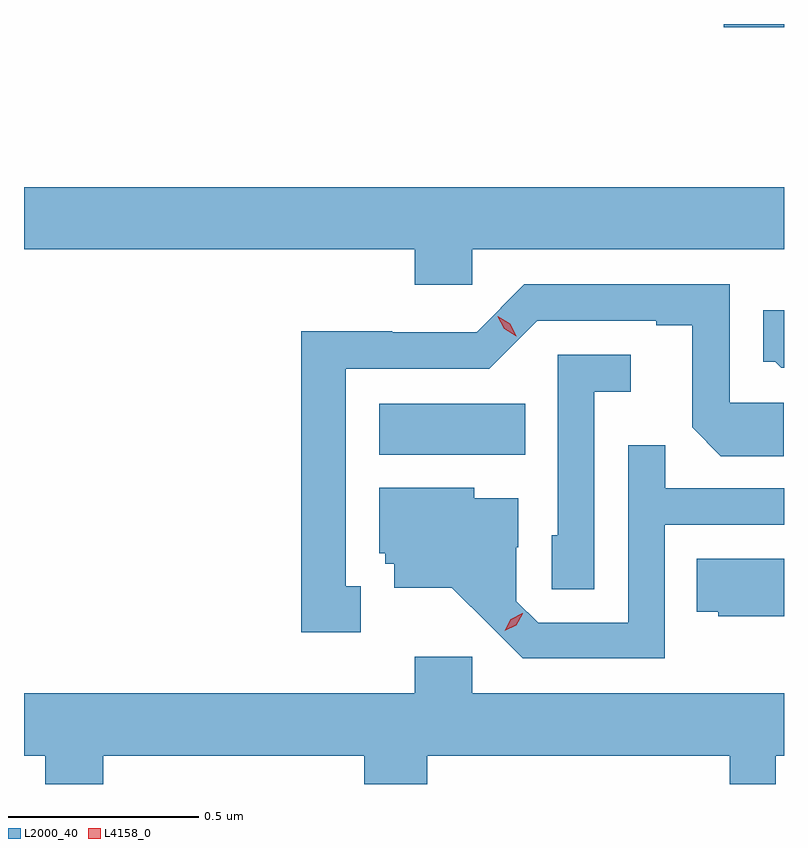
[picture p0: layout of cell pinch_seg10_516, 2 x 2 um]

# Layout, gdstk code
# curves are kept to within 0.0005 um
import gdstk
lib = gdstk.Library(unit=1e-6, precision=1e-09)
def R(c, l, rs):  # rectangles x0, y0, x1, y1
    for r in rs: c.add(gdstk.rectangle(r[:2], r[2:], *l))
def P(c, l, *ps):  # polygons
    for p in ps: c.add(gdstk.Polygon(p, *l))
L2000_40 = (2000, 40)
L4158_0 = (4158, 0)

pinch_seg10_516 = lib.new_cell('pinch_seg10_516')
R(pinch_seg10_516, L2000_40, [(274.568,1301.108,274.952,1301.242), (275.474,1302.233,275.633,1302.241)])
P(pinch_seg10_516, L2000_40, [(274.812,1301.648),(275.633,1301.648),(275.633,1301.812),(273.633,1301.812),(273.633,1301.648),(274.661,1301.648),(274.661,1301.555),(274.812,1301.555)],
  [(274.519,1300.761),(274.48,1300.761),(274.48,1301.334),(274.857,1301.334),(274.983,1301.46),(275.297,1301.46),(275.297,1301.448),(275.391,1301.448),(275.391,1301.18),(275.467,1301.104),(275.632,1301.104),(275.632,1301.244),(275.49,1301.244),(275.49,1301.556),(274.95,1301.556),(274.824,1301.43),(274.602,1301.43),(274.602,1301.432),(274.362,1301.432),(274.362,1300.641),(274.519,1300.641)],
  [(275.633,1301.488),(275.579,1301.488),(275.579,1301.352),(275.61,1301.352),(275.626,1301.336),(275.633,1301.336)],
  [(275.133,1301.273),(275.23,1301.273),(275.23,1301.37),(275.037,1301.37),(275.037,1300.896),(275.022,1300.896),(275.022,1300.753),(275.133,1300.753)],
  [(275.319,1300.923),(275.633,1300.923),(275.633,1301.019),(275.321,1301.019),(275.321,1301.132),(275.223,1301.132),(275.223,1300.665),(274.986,1300.665),(274.929,1300.722),(274.929,1300.864),(274.933,1300.864),(274.933,1300.993),(274.818,1300.993),(274.818,1301.02),(274.568,1301.02),(274.568,1300.848),(274.584,1300.848),(274.584,1300.821),(274.607,1300.821),(274.607,1300.757),(274.759,1300.757),(274.946,1300.572),(275.319,1300.572)],
  [(275.633,1300.834),(275.404,1300.834),(275.404,1300.694),(275.46,1300.694),(275.46,1300.682),(275.633,1300.682)],
  [(273.842,1300.316),(274.529,1300.316),(274.529,1300.241),(274.694,1300.241),(274.694,1300.316),(275.49,1300.316),(275.49,1300.241),(275.611,1300.241),(275.611,1300.316),(275.633,1300.316),(275.633,1300.48),(274.812,1300.48),(274.812,1300.576),(274.661,1300.576),(274.661,1300.48),(273.633,1300.48),(273.633,1300.316),(273.689,1300.316),(273.689,1300.241),(273.842,1300.241)])
P(pinch_seg10_516, L4158_0, [(274.898,1300.644),(274.898,1300.644),(274.914,1300.674),(274.944,1300.69),(274.945,1300.69),(274.945,1300.689),(274.928,1300.659),(274.898,1300.644)],
  [(274.929,1301.419),(274.897,1301.439),(274.88,1301.471),(274.88,1301.472),(274.88,1301.472),(274.912,1301.452),(274.929,1301.42),(274.929,1301.419)])

lib.write_gds('pinch_seg10_516.gds')
